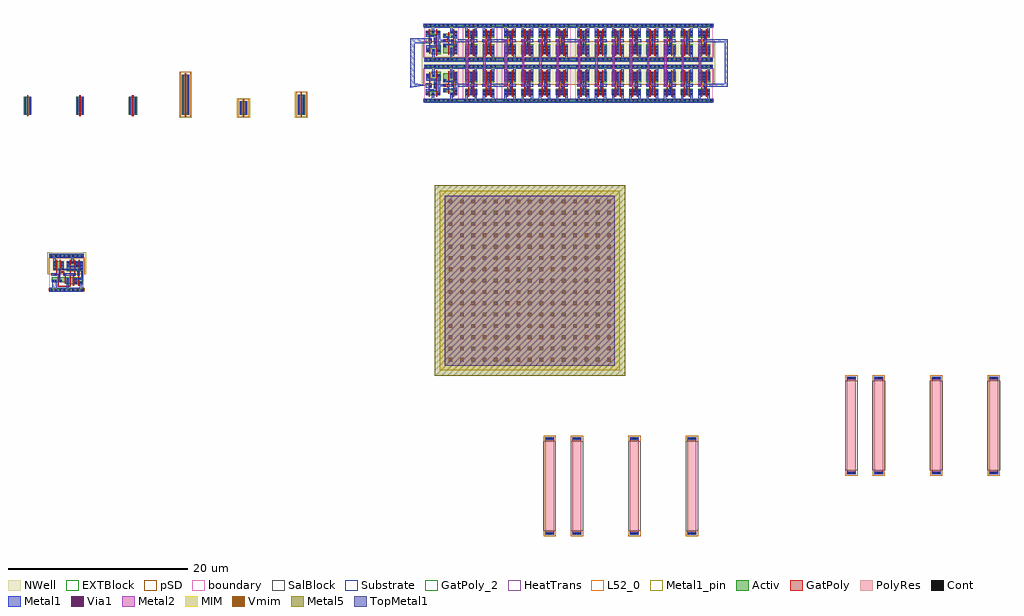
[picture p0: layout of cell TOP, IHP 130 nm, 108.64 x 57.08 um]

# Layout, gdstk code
import gdstk
lib = gdstk.Library(unit=1e-6, precision=1e-09)
def R(c, l, rs):  # rectangles x0, y0, x1, y1
    for r in rs: c.add(gdstk.rectangle(r[:2], r[2:], *l))
def A(c, l, x, y, w, h, nx, ny, dx, dy):  # array of equal rectangles
    R(c, l, [(x+i*dx, y+j*dy, x+i*dx+w, y+j*dy+h) for i in range(nx) for j in range(ny)])
def P(c, l, *ps):  # polygons
    for p in ps: c.add(gdstk.Polygon(p, *l))
Activ = (1, 0)
GatPoly = (5, 0)
GatPoly_2 = (5, 2)
Cont = (6, 0)
Metal1 = (8, 0)
Metal1_pin = (8, 2)
Metal2 = (10, 0)
pSD = (14, 0)
Via1 = (19, 0)
SalBlock = (28, 0)
NWell = (31, 0)
MIM = (36, 0)
Substrate = (40, 0)
HeatTrans = (51, 0)
L52_0 = (52, 0)
Metal5 = (67, 0)
EXTBlock = (111, 0)
TopMetal1 = (126, 0)
PolyRes = (128, 0)
Vmim = (129, 0)
boundary = (189, 4)

sg13g2_dlygate4sd1_1 = lib.new_cell('sg13g2_dlygate4sd1_1')
R(sg13g2_dlygate4sd1_1, Activ, [(0,-0.15,3.84,0.15), (0.19,0.59,1.81,1.01), (0,3.63,3.84,3.93)])
P(sg13g2_dlygate4sd1_1, Activ, [(2.895,0.59),(2.895,0.91),(2.13,0.91),(2.13,1.33),(3.705,1.33),(3.705,0.59)],
  [(2.13,2.06),(2.13,3.06),(2.91,3.06),(2.91,3.18),(3.705,3.18),(3.705,2.06)],
  [(0.8,2.18),(0.8,2.555),(0.22,2.555),(0.22,2.975),(0.8,2.975),(0.8,3.18),(1.84,3.18),(1.84,2.18)])
P(sg13g2_dlygate4sd1_1, GatPoly, [(2.695,0.73),(2.695,1.52),(2.12,1.52),(2.12,1.85),(2.695,1.85),(2.695,3.24),(2.825,3.24),(2.825,0.73)],
  [(0.53,0.41),(0.53,1.74),(0.56,1.74),(0.56,3.155),(0.69,3.155),(0.69,1.74),(0.84,1.74),(0.84,1.41),(0.66,1.41),(0.66,0.41)],
  [(1.34,0.41),(1.34,1.35),(1.05,1.35),(1.05,2.02),(1.34,2.02),(1.34,3.36),(1.47,3.36),(1.47,0.41)],
  [(3.235,0.41),(3.235,1.515),(3.02,1.515),(3.02,1.845),(3.235,1.845),(3.235,3.36),(3.365,3.36),(3.365,0.41)])
A(sg13g2_dlygate4sd1_1, Cont, 0.16, -0.08, 0.16, 0.16, 8, 2, 0.48, 3.78)
A(sg13g2_dlygate4sd1_1, Cont, 0.26, 0.66, 0.16, 0.16, 3, 1, 0.66, 0)
A(sg13g2_dlygate4sd1_1, Cont, 3.475, 2.27, 0.16, 0.16, 1, 3, 0, 0.34)
R(sg13g2_dlygate4sd1_1, Cont, [(2.965,0.66,3.125,0.82), (3.475,0.66,3.635,0.82), (3.475,1,3.635,1.16), (2.2,1.015,2.36,1.175), (1.165,1.435,1.325,1.595), (0.605,1.495,0.765,1.655), (3.105,1.6,3.265,1.76), (2.205,1.605,2.365,1.765), (1.165,1.775,1.325,1.935), (2.215,2.165,2.375,2.325), (2.95,2.495,3.11,2.655), (0.29,2.7,0.45,2.86), (0.96,2.7,1.12,2.86), (1.61,2.7,1.77,2.86), (2.95,2.835,3.11,2.995)])
R(sg13g2_dlygate4sd1_1, Metal1, [(3.025,1.12,3.685,1.37), (0.24,1.425,0.835,1.945)])
P(sg13g2_dlygate4sd1_1, Metal1, [(2.155,0.96),(2.155,1.36),(2.595,1.36),(2.595,1.81),(3.045,1.81),(3.045,2.03),(2.14,2.03),(2.14,2.395),(2.45,2.395),(2.45,2.205),(3.235,2.205),(3.235,1.81),(3.315,1.81),(3.315,1.55),(2.755,1.55),(2.755,1.16),(2.395,1.16),(2.395,0.96)],
  [(3.425,0.61),(3.425,1.37),(3.495,1.37),(3.495,2.22),(3.43,2.22),(3.43,3.16),(3.685,3.16),(3.685,0.61)],
  [(1.52,0.615),(1.52,0.87),(1.58,0.87),(1.58,2.615),(1.52,2.615),(1.52,2.945),(1.825,2.945),(1.825,1.83),(2.415,1.83),(2.415,1.57),(1.81,1.57),(1.81,0.615)],
  [(0.21,0.61),(0.21,1.24),(1.12,1.24),(1.12,2.195),(0.24,2.195),(0.24,2.91),(0.5,2.91),(0.5,2.4),(1.375,2.4),(1.375,1.065),(0.48,1.065),(0.48,0.61)],
  [(2.9,2.455),(2.9,3.56),(1.17,3.56),(1.17,2.65),(0.91,2.65),(0.91,3.56),(0,3.56),(0,4),(3.84,4),(3.84,3.56),(3.16,3.56),(3.16,2.455)],
  [(0,-0.22),(0,0.22),(0.87,0.22),(0.87,0.87),(1.13,0.87),(1.13,0.22),(2.915,0.22),(2.915,0.87),(3.175,0.87),(3.175,0.22),(3.84,0.22),(3.84,-0.22)])
R(sg13g2_dlygate4sd1_1, Metal1_pin, [(0,-0.22,3.84,0.22), (3.025,1.12,3.685,1.37), (0.24,1.425,0.835,1.945), (0,3.56,3.84,4)])
R(sg13g2_dlygate4sd1_1, pSD, [(-0.07,-0.18,3.91,0.18), (-0.07,1.76,3.91,3.6)])
R(sg13g2_dlygate4sd1_1, NWell, [(-0.24,1.75,4.08,4.17)])
R(sg13g2_dlygate4sd1_1, boundary, [(0,0,3.84,3.78)])
sg13g2_dlygate4sd1_1.add(gdstk.Label('X', (3.36,1.26), layer=8, texttype=25))
sg13g2_dlygate4sd1_1.add(gdstk.Label('VDD', (2.085,3.79), layer=8, texttype=25))
sg13g2_dlygate4sd1_1.add(gdstk.Label('VSS', (2.2,0.005), layer=8, texttype=25))
sg13g2_dlygate4sd1_1.add(gdstk.Label('A', (0.52,1.68), layer=8, texttype=25))

sg13g2_inv_2 = lib.new_cell('sg13g2_inv_2')
R(sg13g2_inv_2, Activ, [(0,-0.15,1.92,0.15), (0.265,0.59,1.585,1.33), (0.265,2.06,1.59,3.18), (0,3.63,1.92,3.93)])
P(sg13g2_inv_2, GatPoly, [(0.605,0.41),(0.605,1.52),(0.305,1.52),(0.305,1.85),(0.605,1.85),(0.605,3.36),(0.735,3.36),(0.735,1.67),(1.115,1.67),(1.115,3.36),(1.245,3.36),(1.245,0.41),(1.115,0.41),(1.115,1.52),(0.735,1.52),(0.735,0.41)])
A(sg13g2_inv_2, Cont, 0.335, 0.66, 0.16, 0.16, 3, 2, 0.51, 0.34)
A(sg13g2_inv_2, Cont, 0.335, 2.27, 0.16, 0.16, 1, 3, 0, 0.34)
A(sg13g2_inv_2, Cont, 0.845, 2.27, 0.16, 0.16, 1, 3, 0, 0.34)
A(sg13g2_inv_2, Cont, 1.36, 2.27, 0.16, 0.16, 1, 3, 0, 0.34)
R(sg13g2_inv_2, Cont, [(0.16,-0.08,0.32,0.08), (0.16,-0.08,0.32,0.08), (0.64,-0.08,0.8,0.08), (0.64,-0.08,0.8,0.08), (1.12,-0.08,1.28,0.08), (1.12,-0.08,1.28,0.08), (1.6,-0.08,1.76,0.08), (1.6,-0.08,1.76,0.08), (0.39,1.605,0.55,1.765), (0.16,3.7,0.32,3.86), (0.16,3.7,0.32,3.86), (0.64,3.7,0.8,3.86), (0.64,3.7,0.8,3.86), (1.12,3.7,1.28,3.86), (1.12,3.7,1.28,3.86), (1.6,3.7,1.76,3.86), (1.6,3.7,1.76,3.86)])
R(sg13g2_inv_2, Metal1, [(0.255,1.52,0.635,1.85)])
P(sg13g2_inv_2, Metal1, [(0.285,2.22),(0.285,3.56),(0,3.56),(0,4),(1.92,4),(1.92,3.56),(1.57,3.56),(1.57,2.22),(1.31,2.22),(1.31,3.56),(0.545,3.56),(0.545,2.22)],
  [(0,-0.22),(0,0.22),(0.285,0.22),(0.285,1.21),(0.545,1.21),(0.545,0.22),(1.305,0.22),(1.305,1.21),(1.565,1.21),(1.565,0.22),(1.92,0.22),(1.92,-0.22)],
  [(0.795,0.61),(0.795,1.21),(0.87,1.21),(0.87,2.22),(0.795,2.22),(0.795,3.18),(1.055,3.18),(1.055,1.85),(1.59,1.85),(1.59,1.52),(1.055,1.52),(1.055,0.61)])
R(sg13g2_inv_2, Metal1_pin, [(0,-0.22,1.92,0.22), (0.255,1.52,0.635,1.85), (0.87,1.52,1.59,1.85), (0,3.56,1.92,4)])
R(sg13g2_inv_2, pSD, [(-0.07,-0.18,1.99,0.18), (-0.07,1.76,1.99,3.6)])
R(sg13g2_inv_2, NWell, [(-0.24,1.75,2.16,4.17)])
R(sg13g2_inv_2, boundary, [(0,0,1.92,3.78)])
sg13g2_inv_2.add(gdstk.Label('VSS', (0.89,0), layer=8, texttype=25))
sg13g2_inv_2.add(gdstk.Label('VDD', (0.935,3.785), layer=8, texttype=25))
sg13g2_inv_2.add(gdstk.Label('Y', (1.44,1.68), layer=8, texttype=25))
sg13g2_inv_2.add(gdstk.Label('A', (0.48,1.68), layer=8, texttype=25))

dline = lib.new_cell('DLine')
R(dline, Activ, [(8.158,-0.15,8.64,0.15), (12.475,-0.15,12.96,0.15), (20.64,-0.15,21.122,0.15), (8.158,3.63,8.64,3.93), (12.478,3.63,12.96,3.93), (20.638,3.63,21.12,3.93), (8.158,4.41,8.64,4.71), (12.478,4.41,12.96,4.71), (20.638,4.41,21.12,4.71), (8.158,8.19,8.64,8.49), (12.478,8.19,12.96,8.49), (20.64,8.19,21.122,8.49)])
R(dline, Metal1, [(8.158,-0.22,8.64,0.22), (12.475,-0.22,12.96,0.22), (20.64,-0.22,21.122,0.22), (8.158,3.56,8.64,4), (12.478,3.56,12.96,4), (20.638,3.56,21.12,4), (8.158,4.34,8.64,4.78), (12.478,4.34,12.96,4.78), (20.638,4.34,21.12,4.78), (8.158,8.12,8.64,8.56), (12.478,8.12,12.96,8.56), (20.64,8.12,21.122,8.56)])
R(dline, pSD, [(8.228,-0.18,8.57,0.18), (12.545,-0.18,12.89,0.18), (20.71,-0.18,21.052,0.18), (8.228,1.76,8.57,3.6), (12.549,1.76,12.89,3.6), (20.71,1.76,21.05,3.6), (8.23,4.74,8.57,6.58), (12.55,4.74,12.89,6.58), (20.71,4.74,21.05,6.58), (8.228,8.16,8.57,8.52), (12.548,8.16,12.89,8.52), (20.71,8.16,21.052,8.52)])
A(dline, Via1, 25.335, 6.555, 0.19, 0.19, 5, 1, 1.92, 0)
R(dline, Via1, [(9.015,1.59,9.205,1.78), (9.015,1.59,9.205,1.78), (10.935,1.59,11.125,1.78), (13.34,1.59,13.53,1.78), (15.26,1.59,15.45,1.78), (17.175,1.59,17.365,1.78), (19.1,1.59,19.29,1.78), (21.495,1.59,21.685,1.78), (23.41,1.59,23.6,1.78), (25.335,1.59,25.525,1.78), (27.25,1.59,27.44,1.78), (29.175,1.59,29.365,1.78), (31.095,1.59,31.285,1.78), (33.01,1.59,33.2,1.78), (34.935,1.59,35.125,1.78), (9.01,6.555,9.2,6.745), (9.01,6.555,9.2,6.745), (10.935,6.555,11.125,6.745), (13.335,6.555,13.525,6.745), (15.255,6.555,15.445,6.745), (17.18,6.555,17.37,6.745), (19.095,6.555,19.285,6.745), (21.505,6.555,21.695,6.745), (23.41,6.555,23.6,6.745), (34.935,6.56,35.125,6.75)])
dline.add(gdstk.FlexPath([(4.56,6.655),(3.03,6.655),(3.03,1.685),(4.558,1.685),(4.48,1.685)], 0.52, ends="flush", simple_path=True, layer=8, datatype=0))  # Metal1
dline.add(gdstk.FlexPath([(8.895,1.685),(8.003,1.685)], 0.33, ends="flush", simple_path=True, layer=8, datatype=0))  # Metal1
dline.add(gdstk.FlexPath([(8.895,6.655),(8.003,6.655)], 0.33, ends="flush", simple_path=True, layer=8, datatype=0))  # Metal1
dline.add(gdstk.FlexPath([(13.215,1.685),(12.145,1.685)], 0.33, ends="flush", simple_path=True, layer=8, datatype=0))  # Metal1
dline.add(gdstk.FlexPath([(13.215,6.655),(12.145,6.655)], 0.33, ends="flush", simple_path=True, layer=8, datatype=0))  # Metal1
dline.add(gdstk.FlexPath([(21.38,6.655),(20.31,6.655)], 0.33, ends="flush", simple_path=True, layer=8, datatype=0))  # Metal1
dline.add(gdstk.FlexPath([(36.15,6.655),(37.97,6.655),(37.97,1.685),(36.15,1.685)], 0.33, ends="flush", simple_path=True, layer=8, datatype=0))  # Metal1
dline.add(gdstk.FlexPath([(9.11,1.52),(9.11,6.82)], 0.26, ends="flush", simple_path=True, layer=10, datatype=0))  # Metal2
dline.add(gdstk.FlexPath([(11.04,1.52),(11.04,6.82)], 0.26, ends="flush", simple_path=True, layer=10, datatype=0))  # Metal2
dline.add(gdstk.FlexPath([(13.435,1.52),(13.435,6.82)], 0.26, ends="flush", simple_path=True, layer=10, datatype=0))  # Metal2
dline.add(gdstk.FlexPath([(15.355,1.52),(15.355,6.82)], 0.26, ends="flush", simple_path=True, layer=10, datatype=0))  # Metal2
dline.add(gdstk.FlexPath([(17.275,1.52),(17.275,6.82)], 0.26, ends="flush", simple_path=True, layer=10, datatype=0))  # Metal2
dline.add(gdstk.FlexPath([(19.2,1.52),(19.2,6.82)], 0.26, ends="flush", simple_path=True, layer=10, datatype=0))  # Metal2
dline.add(gdstk.FlexPath([(21.59,1.52),(21.59,6.82)], 0.26, ends="flush", simple_path=True, layer=10, datatype=0))  # Metal2
dline.add(gdstk.FlexPath([(23.515,1.52),(23.515,6.82)], 0.26, ends="flush", simple_path=True, layer=10, datatype=0))  # Metal2
dline.add(gdstk.FlexPath([(25.43,1.52),(25.43,6.82)], 0.26, ends="flush", simple_path=True, layer=10, datatype=0))  # Metal2
dline.add(gdstk.FlexPath([(27.35,1.52),(27.35,6.82)], 0.26, ends="flush", simple_path=True, layer=10, datatype=0))  # Metal2
dline.add(gdstk.FlexPath([(29.265,1.52),(29.265,6.82)], 0.26, ends="flush", simple_path=True, layer=10, datatype=0))  # Metal2
dline.add(gdstk.FlexPath([(31.185,1.52),(31.185,6.82)], 0.26, ends="flush", simple_path=True, layer=10, datatype=0))  # Metal2
dline.add(gdstk.FlexPath([(33.11,1.52),(33.11,6.82)], 0.26, ends="flush", simple_path=True, layer=10, datatype=0))  # Metal2
dline.add(gdstk.FlexPath([(35.025,1.52),(35.025,6.82)], 0.26, ends="flush", simple_path=True, layer=10, datatype=0))  # Metal2
dline.add(gdstk.FlexPath([(9.11,1.52),(9.11,6.82)], 0.26, ends="flush", simple_path=True, layer=10, datatype=0))  # Metal2
dline.add(gdstk.Reference(sg13g2_dlygate4sd1_1, (4.32,8.34), x_reflection=True))
dline.add(gdstk.Reference(sg13g2_dlygate4sd1_1, (4.318,0)))
dline.add(gdstk.Reference(sg13g2_inv_2, (8.64,0)))
dline.add(gdstk.Reference(sg13g2_inv_2, (8.64,8.34), x_reflection=True))
dline.add(gdstk.Reference(sg13g2_inv_2, (10.559,0)))
dline.add(gdstk.Reference(sg13g2_inv_2, (10.56,8.34), x_reflection=True))
dline.add(gdstk.Reference(sg13g2_inv_2, (12.96,0)))
dline.add(gdstk.Reference(sg13g2_inv_2, (12.96,8.34), x_reflection=True))
dline.add(gdstk.Reference(sg13g2_inv_2, (14.88,0)))
dline.add(gdstk.Reference(sg13g2_inv_2, (14.88,8.34), x_reflection=True))
dline.add(gdstk.Reference(sg13g2_inv_2, (16.8,0)))
dline.add(gdstk.Reference(sg13g2_inv_2, (16.8,8.34), x_reflection=True))
dline.add(gdstk.Reference(sg13g2_inv_2, (18.72,0)))
dline.add(gdstk.Reference(sg13g2_inv_2, (18.72,8.34), x_reflection=True))
dline.add(gdstk.Reference(sg13g2_inv_2, (21.12,0)))
dline.add(gdstk.Reference(sg13g2_inv_2, (21.12,8.34), x_reflection=True))
dline.add(gdstk.Reference(sg13g2_inv_2, (23.04,0)))
dline.add(gdstk.Reference(sg13g2_inv_2, (23.04,8.34), x_reflection=True))
dline.add(gdstk.Reference(sg13g2_inv_2, (24.96,0)))
dline.add(gdstk.Reference(sg13g2_inv_2, (24.96,8.34), x_reflection=True))
dline.add(gdstk.Reference(sg13g2_inv_2, (26.88,0)))
dline.add(gdstk.Reference(sg13g2_inv_2, (26.88,8.34), x_reflection=True))
dline.add(gdstk.Reference(sg13g2_inv_2, (28.8,0)))
dline.add(gdstk.Reference(sg13g2_inv_2, (28.8,8.34), x_reflection=True))
dline.add(gdstk.Reference(sg13g2_inv_2, (30.72,0)))
dline.add(gdstk.Reference(sg13g2_inv_2, (32.64,0)))
dline.add(gdstk.Reference(sg13g2_inv_2, (32.64,8.34), x_reflection=True))
dline.add(gdstk.Reference(sg13g2_inv_2, (34.56,0)))
dline.add(gdstk.Reference(sg13g2_inv_2, (34.56,8.34), x_reflection=True))
dline.add(gdstk.Reference(sg13g2_inv_2, (30.72,8.34), x_reflection=True))

nmos = lib.new_cell('nmos')
R(nmos, Activ, [(0,0,0.3,0.3), (0,0,0.81,2), (0.51,0,0.81,0.3)])
R(nmos, GatPoly, [(0.34,-0.18,0.47,2.18)])
R(nmos, GatPoly_2, [(0.34,-0.18,0.47,2.18)])
A(nmos, Cont, 0.07, 0.07, 0.16, 0.16, 1, 6, 0, 0.34)
A(nmos, Cont, 0.58, 0.07, 0.16, 0.16, 1, 6, 0, 0.34)
R(nmos, Metal1, [(0.07,0,0.23,2), (0.58,0,0.74,2)])
R(nmos, Metal1_pin, [(0.07,0,0.23,2), (0.58,0,0.74,2)])
R(nmos, HeatTrans, [(0.34,-0.18,0.47,2.18)])
nmos.add(gdstk.Label('nmos', (0.405,1), layer=63, texttype=0))
nmos.add(gdstk.Label('nmos', (0.405,1), layer=51, texttype=0))

nmos_1 = lib.new_cell('nmos$1')
R(nmos_1, Activ, [(0,0,0.3,0.3), (0,0,0.84,2), (0.54,0,0.84,0.3)])
R(nmos_1, GatPoly, [(0.34,-0.18,0.5,2.18)])
R(nmos_1, GatPoly_2, [(0.34,-0.18,0.5,2.18)])
A(nmos_1, Cont, 0.07, 0.07, 0.16, 0.16, 1, 6, 0, 0.34)
A(nmos_1, Cont, 0.61, 0.07, 0.16, 0.16, 1, 6, 0, 0.34)
R(nmos_1, Metal1, [(0.07,0,0.23,2), (0.61,0,0.77,2)])
R(nmos_1, Metal1_pin, [(0.07,0,0.23,2), (0.61,0,0.77,2)])
R(nmos_1, HeatTrans, [(0.34,-0.18,0.5,2.18)])
nmos_1.add(gdstk.Label('nmos', (0.42,1), layer=63, texttype=0))
nmos_1.add(gdstk.Label('nmos', (0.42,1), layer=51, texttype=0))

nmos_2 = lib.new_cell('nmos$2')
R(nmos_2, Activ, [(0,0,0.3,0.3), (0,0,0.93,2), (0.63,0,0.93,0.3)])
R(nmos_2, GatPoly, [(0.34,-0.18,0.59,2.18)])
R(nmos_2, GatPoly_2, [(0.34,-0.18,0.59,2.18)])
A(nmos_2, Cont, 0.07, 0.07, 0.16, 0.16, 1, 6, 0, 0.34)
A(nmos_2, Cont, 0.7, 0.07, 0.16, 0.16, 1, 6, 0, 0.34)
R(nmos_2, Metal1, [(0.07,0,0.23,2), (0.7,0,0.86,2)])
R(nmos_2, Metal1_pin, [(0.07,0,0.23,2), (0.7,0,0.86,2)])
R(nmos_2, HeatTrans, [(0.34,-0.18,0.59,2.18)])
nmos_2.add(gdstk.Label('nmos', (0.465,1), layer=63, texttype=0))
nmos_2.add(gdstk.Label('nmos', (0.465,1), layer=51, texttype=0))

pmos = lib.new_cell('pmos')
R(pmos, Activ, [(0,0,0.3,0.3), (0,0,0.81,4.46), (0.51,0,0.81,0.3)])
R(pmos, GatPoly, [(0.34,-0.18,0.47,4.64), (0.34,-0.18,0.47,4.64)])
A(pmos, Cont, 0.07, 0.07, 0.16, 0.16, 1, 3, 0, 0.345)
A(pmos, Cont, 0.58, 0.07, 0.16, 0.16, 1, 3, 0, 0.345)
A(pmos, Cont, 0.07, 1.11, 0.16, 0.16, 1, 3, 0, 0.345)
A(pmos, Cont, 0.58, 1.11, 0.16, 0.16, 1, 3, 0, 0.345)
A(pmos, Cont, 0.07, 2.15, 0.16, 0.16, 1, 3, 0, 0.345)
A(pmos, Cont, 0.58, 2.15, 0.16, 0.16, 1, 3, 0, 0.345)
A(pmos, Cont, 0.07, 3.19, 0.16, 0.16, 1, 3, 0, 0.345)
A(pmos, Cont, 0.58, 3.19, 0.16, 0.16, 1, 3, 0, 0.345)
R(pmos, Cont, [(0.07,4.23,0.23,4.39), (0.58,4.23,0.74,4.39)])
R(pmos, Metal1, [(0.07,0,0.23,4.46), (0.07,0,0.23,4.46), (0.58,0,0.74,4.46), (0.58,0,0.74,4.46)])
R(pmos, pSD, [(-0.18,-0.3,0.99,4.76)])
R(pmos, NWell, [(-0.31,-0.31,1.12,4.77)])
R(pmos, Substrate, [(0.51,0,0.81,0.3)])
R(pmos, HeatTrans, [(0.34,-0.18,0.47,4.64)])
pmos.add(gdstk.Label('pmos', (0.405,2.23), layer=63, texttype=0))
pmos.add(gdstk.Label('pmos', (0.405,2.23), layer=51, texttype=0))

pmos_1 = lib.new_cell('pmos$1')
R(pmos_1, Activ, [(0,0,0.3,0.3), (0,0,0.84,1.5), (0.54,0,0.84,0.3)])
R(pmos_1, GatPoly, [(0.34,-0.18,0.5,1.68), (0.34,-0.18,0.5,1.68)])
A(pmos_1, Cont, 0.07, 0.07, 0.16, 0.16, 1, 4, 0, 0.4)
A(pmos_1, Cont, 0.61, 0.07, 0.16, 0.16, 1, 4, 0, 0.4)
R(pmos_1, Metal1, [(0.07,0,0.23,1.5), (0.07,0,0.23,1.5), (0.61,0,0.77,1.5), (0.61,0,0.77,1.5)])
R(pmos_1, pSD, [(-0.18,-0.3,1.02,1.8)])
R(pmos_1, NWell, [(-0.31,-0.31,1.15,1.81)])
R(pmos_1, Substrate, [(0.54,0,0.84,0.3)])
R(pmos_1, HeatTrans, [(0.34,-0.18,0.5,1.68)])
pmos_1.add(gdstk.Label('pmos', (0.42,0.75), layer=63, texttype=0))
pmos_1.add(gdstk.Label('pmos', (0.42,0.75), layer=51, texttype=0))

pmos_2 = lib.new_cell('pmos$2')
R(pmos_2, Activ, [(0,0,0.3,0.3), (0,0,0.81,2.24), (0.51,0,0.81,0.3)])
R(pmos_2, GatPoly, [(0.34,-0.18,0.47,2.42), (0.34,-0.18,0.47,2.42)])
A(pmos_2, Cont, 0.07, 1.23, 0.16, 0.16, 1, 3, 0, 0.39)
A(pmos_2, Cont, 0.58, 1.23, 0.16, 0.16, 1, 3, 0, 0.39)
R(pmos_2, Cont, [(0.07,0.07,0.23,0.23), (0.58,0.07,0.74,0.23), (0.07,0.455,0.23,0.615), (0.58,0.455,0.74,0.615), (0.07,0.845,0.23,1.005), (0.58,0.845,0.74,1.005)])
R(pmos_2, Metal1, [(0.07,0,0.23,2.24), (0.07,0,0.23,2.24), (0.58,0,0.74,2.24), (0.58,0,0.74,2.24)])
R(pmos_2, pSD, [(-0.18,-0.3,0.99,2.54)])
R(pmos_2, NWell, [(-0.31,-0.31,1.12,2.55)])
R(pmos_2, Substrate, [(0.51,0,0.81,0.3)])
R(pmos_2, HeatTrans, [(0.34,-0.18,0.47,2.42)])
pmos_2.add(gdstk.Label('pmos', (0.405,1.12), layer=63, texttype=0))
pmos_2.add(gdstk.Label('pmos', (0.405,1.12), layer=51, texttype=0))

vcdl = lib.new_cell('VCDL')
vcdl.add(gdstk.Reference(nmos, (0,0)))
vcdl.add(gdstk.Reference(nmos_1, (5.81,0)))
vcdl.add(gdstk.Reference(nmos_2, (11.65,0)))
vcdl.add(gdstk.Reference(pmos, (17.58,0)))
vcdl.add(gdstk.Reference(pmos_1, (24.01,0)))
vcdl.add(gdstk.Reference(pmos_2, (30.47,0)))

sg13g2_xor2_1 = lib.new_cell('sg13g2_xor2_1')
R(sg13g2_xor2_1, Activ, [(0,-0.15,3.84,0.15), (1.9,2.06,3.73,3.18), (0.395,2.18,1.6,3.18), (0,3.63,3.84,3.93)])
P(sg13g2_xor2_1, Activ, [(1.88,0.65),(1.88,0.84),(0.235,0.84),(0.235,1.39),(3.73,1.39),(3.73,0.65)])
P(sg13g2_xor2_1, GatPoly, [(1.68,0.66),(1.68,1.55),(1.51,1.55),(1.51,1.91),(1.13,1.91),(1.13,3.365),(1.26,3.365),(1.26,2.06),(1.67,2.06),(1.67,1.85),(1.81,1.85),(1.81,0.66)],
  [(2.61,0.47),(2.61,1.85),(2.75,1.85),(2.75,3.365),(2.88,3.365),(2.88,1.85),(2.91,1.85),(2.91,1.55),(2.74,1.55),(2.74,0.47)],
  [(3.18,0.47),(3.18,1.55),(3.09,1.55),(3.09,1.85),(3.26,1.85),(3.26,3.365),(3.39,3.365),(3.39,1.55),(3.31,1.55),(3.31,0.47)],
  [(0.915,0.32),(0.915,1.55),(0.54,1.55),(0.54,1.85),(0.755,1.85),(0.755,3.365),(0.885,3.365),(0.885,1.72),(1.045,1.72),(1.045,0.47),(2.24,0.47),(2.24,3.365),(2.37,3.365),(2.37,0.32)])
A(sg13g2_xor2_1, Cont, 0.16, -0.08, 0.16, 0.16, 8, 2, 0.48, 3.78)
A(sg13g2_xor2_1, Cont, 0.485, 2.27, 0.16, 0.16, 1, 3, 0, 0.34)
A(sg13g2_xor2_1, Cont, 1.37, 2.27, 0.16, 0.16, 1, 3, 0, 0.34)
A(sg13g2_xor2_1, Cont, 1.97, 2.95, 0.16, 0.16, 4, 1, 0.51, 0)
R(sg13g2_xor2_1, Cont, [(1.95,0.72,2.11,0.88), (2.885,0.72,3.045,0.88), (3.42,0.725,3.58,0.885), (0.305,0.91,0.465,1.07), (0.645,0.91,0.805,1.07), (1.155,0.91,1.315,1.07), (1.95,1.06,2.11,1.22), (2.885,1.06,3.045,1.22), (0.61,1.62,0.77,1.78), (1.58,1.62,1.74,1.78), (2.68,1.62,2.84,1.78), (3.16,1.62,3.32,1.78), (3.5,2.27,3.66,2.43), (1.97,2.61,2.13,2.77), (2.99,2.61,3.15,2.77), (3.5,2.61,3.66,2.77)])
R(sg13g2_xor2_1, Metal1, [(0.2,1.55,0.82,1.83), (1.53,1.55,2.89,1.83)])
P(sg13g2_xor2_1, Metal1, [(1.92,2.52),(1.92,3.16),(2.18,3.16),(2.18,2.68),(2.94,2.68),(2.94,3.16),(3.2,3.16),(3.2,2.52)],
  [(0.435,2.22),(0.435,3.56),(0,3.56),(0,4),(3.84,4),(3.84,3.56),(2.69,3.56),(2.69,2.9),(2.43,2.9),(2.43,3.56),(0.695,3.56),(0.695,2.22)],
  [(0,-0.22),(0,0.22),(0.285,0.22),(0.285,1.12),(0.82,1.12),(0.82,0.22),(1.9,0.22),(1.9,1.27),(2.16,1.27),(2.16,0.22),(3.37,0.22),(3.37,0.935),(3.63,0.935),(3.63,0.22),(3.84,0.22),(3.84,-0.22)],
  [(2.835,0.67),(2.835,1.315),(3.53,1.315),(3.53,2.155),(3.45,2.155),(3.45,3.16),(3.71,3.16),(3.71,1.115),(3.1,1.115),(3.1,0.67)],
  [(1.03,0.86),(1.03,2.34),(1.32,2.34),(1.32,3.16),(1.58,3.16),(1.58,2.34),(3.27,2.34),(3.27,1.83),(3.35,1.83),(3.35,1.57),(3.11,1.57),(3.11,2.17),(1.2,2.17),(1.2,1.12),(1.365,1.12),(1.365,0.86)])
R(sg13g2_xor2_1, Metal1_pin, [(0,-0.22,3.84,0.22), (0.2,1.55,0.82,1.83), (1.53,1.55,2.89,1.83), (3.45,2.155,3.71,3.16), (0,3.56,3.84,4)])
R(sg13g2_xor2_1, pSD, [(-0.07,-0.18,3.91,0.18), (-0.07,1.76,3.91,3.6)])
R(sg13g2_xor2_1, NWell, [(-0.24,1.75,4.08,4.17)])
R(sg13g2_xor2_1, boundary, [(0,0,3.84,3.78)])
sg13g2_xor2_1.add(gdstk.Label('X', (3.505,2.635), layer=8, texttype=25))
sg13g2_xor2_1.add(gdstk.Label('VDD', (2.3,3.775), layer=8, texttype=25))
sg13g2_xor2_1.add(gdstk.Label('B', (2.255,1.725), layer=8, texttype=25))
sg13g2_xor2_1.add(gdstk.Label('A', (0.52,1.63), layer=8, texttype=25))
sg13g2_xor2_1.add(gdstk.Label('VSS', (2.09,0.02), layer=8, texttype=25))

c_pd = lib.new_cell('PD')
c_pd.add(gdstk.Reference(sg13g2_xor2_1, (0,0)))

cmim = lib.new_cell('cmim')
R(cmim, MIM, [(0,0,20,20)])
R(cmim, Metal5, [(-0.6,-0.6,20.6,20.6)])
R(cmim, TopMetal1, [(0.55,0.55,19.45,19.45)])
A(cmim, Vmim, 0.97, 0.97, 0.42, 0.42, 15, 15, 1.26, 1.26)

rppd = lib.new_cell('rppd')
R(rppd, GatPoly, [(0,-0.43,1,-0.2), (0,-0.2,1,0), (0,10,1,10.2), (0,10.2,1,10.43)])
R(rppd, Cont, [(0.07,-0.36,0.93,-0.2), (0.07,10.2,0.93,10.36)])
R(rppd, Metal1, [(0.02,-0.43,0.98,-0.13), (0.02,10.13,0.98,10.43)])
R(rppd, Metal1_pin, [(0.02,-0.43,0.98,-0.13), (0.02,10.13,0.98,10.43)])
R(rppd, pSD, [(-0.18,-0.61,1.18,0), (-0.18,0,1.18,10), (-0.18,10,1.18,10.61)])
R(rppd, SalBlock, [(-0.2,0,1.2,10)])
R(rppd, L52_0, [(0,0,1,10)])
R(rppd, EXTBlock, [(-0.18,-0.61,1.18,0), (-0.2,0,1.2,10), (-0.18,10,1.18,10.61)])
R(rppd, PolyRes, [(0,0,1,10)])
rppd.add(gdstk.Label('rppd r=2654.493', (0.5,5), layer=63, texttype=0))
rppd.add(gdstk.Label('rppd', (0.5,5), layer=52, texttype=0))

res = lib.new_cell('RES')
res.add(gdstk.Reference(rppd, (3.365,0)))
res.add(gdstk.Reference(rppd, (6.4,0)))
res.add(gdstk.Reference(rppd, (12.8,0)))
res.add(gdstk.Reference(rppd, (19.2,0)))

c_cp = lib.new_cell('CP')
c_cp.add(gdstk.Reference(cmim, (17.858,17.858)))
c_cp.add(gdstk.Reference(res, (26.2,0)))
c_cp.add(gdstk.Reference(res, (59.795,6.74)))

top = lib.new_cell('TOP')
top.add(gdstk.Reference(dline, (92.97,92.97)))
top.add(gdstk.Reference(vcdl, (52.755,91.39)))
top.add(gdstk.Reference(c_pd, (55.59,71.895)))
top.add(gdstk.Reference(c_cp, (81.202,45.065)))

lib.write_gds('TOP.gds')
